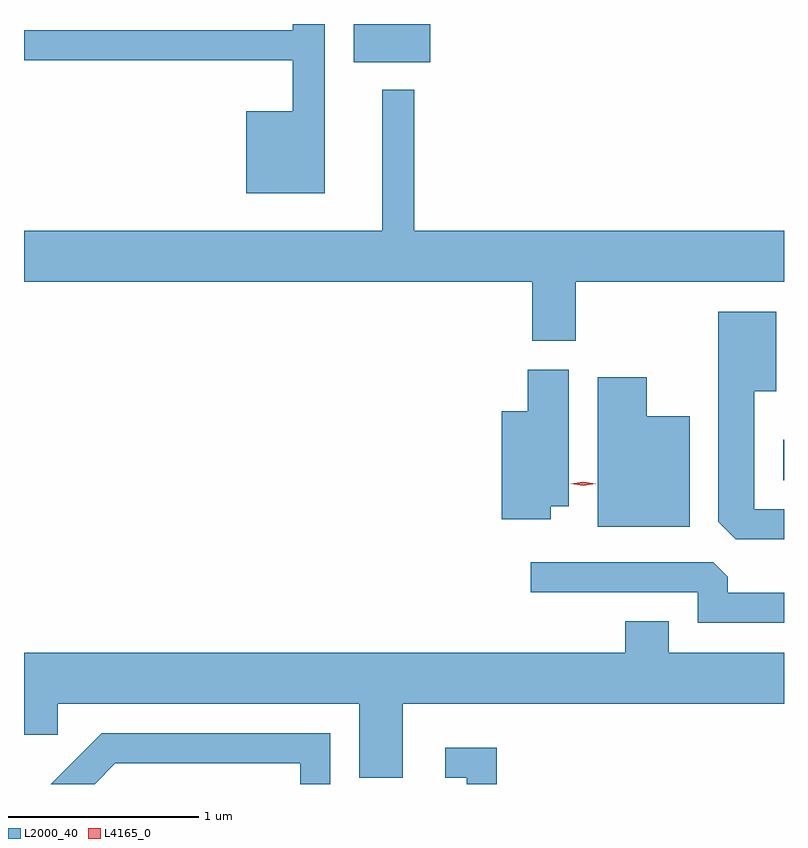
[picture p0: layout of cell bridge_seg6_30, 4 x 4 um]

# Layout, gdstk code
import gdstk
lib = gdstk.Library(unit=1e-6, precision=1e-09)
def R(c, l, rs):  # rectangles x0, y0, x1, y1
    for r in rs: c.add(gdstk.rectangle(r[:2], r[2:], *l))
def P(c, l, *ps):  # polygons
    for p in ps: c.add(gdstk.Polygon(p, *l))
L2000_40 = (2000, 40)
L4165_0 = (4165, 0)

bridge_seg6_30 = lib.new_cell('bridge_seg6_30')
R(bridge_seg6_30, L2000_40, [(1759.541,1637.791,1759.546,1638.004), (1757.281,1639.991,1757.684,1640.193)])
P(bridge_seg6_30, L2000_40, [(1757.129,1640.193),(1756.961,1640.193),(1756.961,1640.159),(1755.546,1640.159),(1755.546,1640.001),(1756.961,1640.001),(1756.961,1639.734),(1756.716,1639.734),(1756.716,1639.301),(1757.129,1639.301)],
  [(1758.449,1638.836),(1759.546,1638.836),(1759.546,1639.104),(1757.599,1639.104),(1757.599,1639.848),(1757.431,1639.848),(1757.431,1639.104),(1755.546,1639.104),(1755.546,1638.836),(1758.221,1638.836),(1758.221,1638.526),(1758.449,1638.526)],
  [(1759.546,1637.639),(1759.389,1637.639),(1759.389,1638.261),(1759.504,1638.261),(1759.504,1638.679),(1759.201,1638.679),(1759.201,1637.572),(1759.292,1637.481),(1759.546,1637.481)],
  [(1758.319,1637.656),(1758.414,1637.656),(1758.414,1638.374),(1758.196,1638.374),(1758.196,1638.154),(1758.061,1638.154),(1758.061,1637.586),(1758.319,1637.586)],
  [(1759.049,1638.129),(1758.824,1638.129),(1758.824,1638.334),(1758.566,1638.334),(1758.566,1637.546),(1759.049,1637.546)],
  [(1759.546,1637.199),(1759.249,1637.199),(1759.249,1637.284),(1759.174,1637.359),(1758.213,1637.359),(1758.213,1637.201),(1759.091,1637.201),(1759.091,1637.041),(1759.546,1637.041)],
  [(1757.539,1636.616),(1759.546,1636.616),(1759.546,1636.884),(1758.939,1636.884),(1758.939,1637.049),(1758.711,1637.049),(1758.711,1636.884),(1755.546,1636.884),(1755.546,1636.451),(1755.724,1636.451),(1755.724,1636.616),(1757.311,1636.616),(1757.311,1636.226),(1757.539,1636.226)],
  [(1756.027,1636.301),(1757.001,1636.301),(1757.001,1636.193),(1757.159,1636.193),(1757.159,1636.459),(1755.954,1636.459),(1755.687,1636.193),(1755.919,1636.193)],
  [(1758.034,1636.384),(1757.763,1636.384),(1757.763,1636.226),(1757.876,1636.226),(1757.876,1636.193),(1758.034,1636.193)])
P(bridge_seg6_30, L4165_0, [(1758.489,1637.763),(1758.423,1637.773),(1758.423,1637.773),(1758.423,1637.774),(1758.489,1637.783),(1758.555,1637.774),(1758.555,1637.773),(1758.555,1637.773)])

lib.write_gds('bridge_seg6_30.gds')
